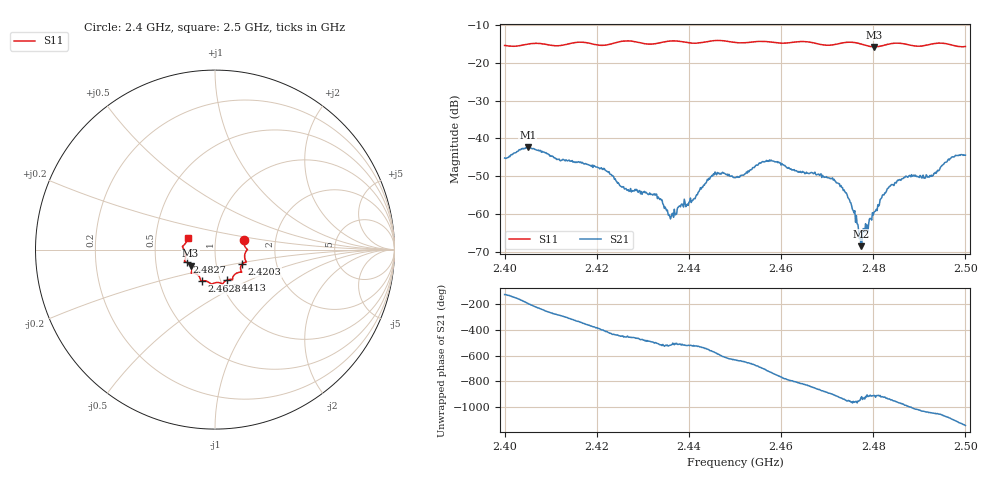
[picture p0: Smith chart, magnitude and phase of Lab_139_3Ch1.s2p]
# Hz S RI R 50
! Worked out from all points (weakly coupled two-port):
!   601 points, 2.4 GHz to 2.5 GHz, reference 50 ohm
!   highest |S21| = -42.36 dB at 2.405 GHz (marker M1); lowest = -68.5 dB at 2.4773 GHz (marker M2)
!   lowest |S11| = -15.8 dB at 2.4802 GHz (marker M3), VSWR 1.39, Z = 37.5 - j6.9 ohm
!   |S11| at or under -10 dB: start of sweep to end of sweep
!   S12 and S22 are empty: the file has one direction only
!   S11 on the Smith chart (normalised r, x): 2.4 GHz: 1.38, +0.15; 2.4203 GHz: 1.34, -0.22; 2.4413 GHz: 1.08, -0.38; 2.4628 GHz: 0.82, -0.29; 2.4827 GHz: 0.72, -0.10; 2.5 GHz: 0.73, +0.10
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2.4e9  0.1615 0.0528  -0.00325 -0.00444  0 0  0 0
2.405e9  0.1767 0.00377  -0.00743 0.00169  0 0  0 0
2.416667e9  0.1741 -0.0694  0.00452 0.00137  0 0  0 0
2.420333e9  0.1521 -0.0795  0.00356 -0.00203  0 0  0 0
2.4265e9  0.1492 -0.1262  -0.000166 -0.00207  0 0  0 0
2.433333e9  0.1001 -0.1522  -0.00142 -0.00089  0 0  0 0
2.436167e9  0.0981 -0.1683  -0.000851 -0.000368  0 0  0 0
2.441333e9  0.0671 -0.169  -0.00154 -0.000418  0 0  0 0
2.445333e9  0.0433 -0.1916  -0.00292 0.00174  0 0  0 0
2.45e9  0.0244 -0.1845  0.00019 0.00303  0 0  0 0
2.457333e9  -0.0258 -0.1882  0.00495 -0.000267  0 0  0 0
2.462833e9  -0.072 -0.1735  0.000553 -0.00382  0 0  0 0
2.466667e9  -0.0806 -0.1675  -0.00194 -0.00295  0 0  0 0
2.473167e9  -0.1281 -0.1305  -0.00192 0.00117  0 0  0 0
2.4755e9  -0.1337 -0.1306  -0.000424 0.00106  0 0  0 0
2.477333e9  -0.13 -0.1208  -0.000334 0.000168  0 0  0 0
2.480167e9  -0.1358 -0.0896  -0.00104 0.000173  0 0  0 0
2.482667e9  -0.1577 -0.0706  -0.00169 0.000856  0 0  0 0
2.483333e9  -0.1629 -0.0684  -0.00177 0.00135  0 0  0 0
2.4875e9  -0.1659 -0.0526  7.78e-05 0.00306  0 0  0 0
2.4925e9  -0.1761 0.00645  0.00249 0.0019  0 0  0 0
2.5e9  -0.1512 0.0644  0.00278 -0.00529  0 0  0 0
